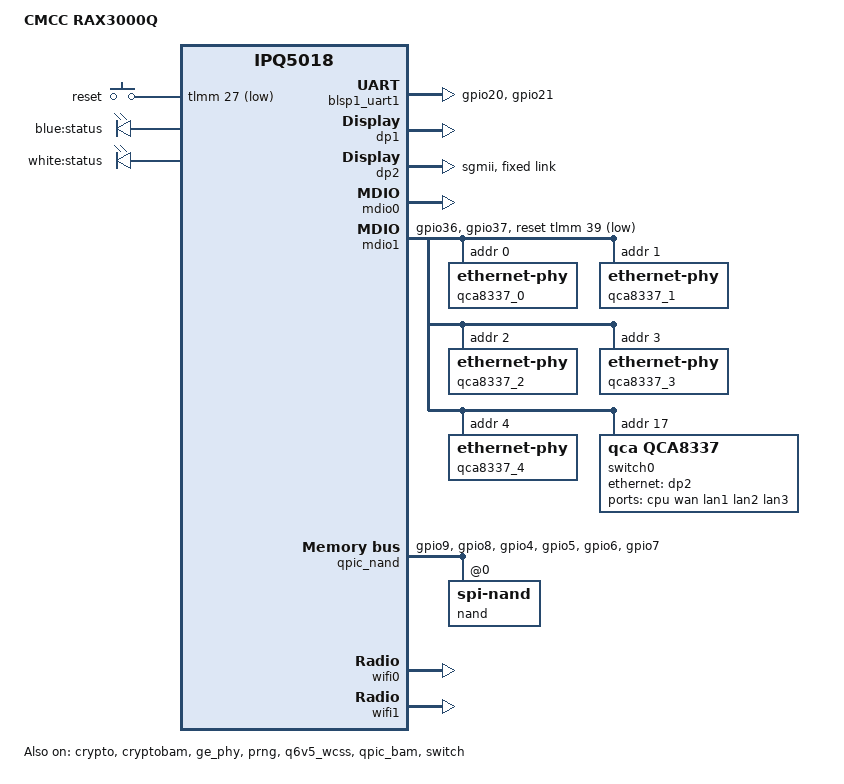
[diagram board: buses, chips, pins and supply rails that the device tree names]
// SPDX-License-Identifier: (GPL-2.0+)

/dts-v1/;
#include "ipq5018.dtsi"
#include "ipq5018-ess.dtsi"
#include <dt-bindings/gpio/gpio.h>
#include <dt-bindings/input/input.h>

/ {
	#address-cells = <0x2>;
	#size-cells = <0x2>;
	model = "CMCC RAX3000Q";
	compatible = "cmcc,rax3000q", "qcom,ipq5018";
	interrupt-parent = <&intc>;

	aliases {
		ethernet1 = &dp2;
		label-mac-device = &dp2;
		serial0 = &blsp1_uart1;
		led-boot = &led_blue;
		led-failsafe = &led_blue;
		led-running = &led_blue;
		led-upgrade = &led_white;
	};

	chosen {
		stdout-path = "serial0:115200n8";
		bootargs-append = " root=/dev/ubiblock0_1";
	};

	keys {
		compatible = "gpio-keys";
		pinctrl-0 = <&button_pins>;
		pinctrl-names = "default";

		reset {
			label = "reset";
			linux,code = <KEY_RESTART>;
			gpios = <&tlmm 27 GPIO_ACTIVE_LOW>;
		};
	};

	leds {
		compatible = "gpio-leds";
		pinctrl-0 = <&leds_pins>;
		pinctrl-names = "default";

		led_blue: status_blue {
			label = "blue:status";
			gpio = <&tlmm 24 GPIO_ACTIVE_HIGH>;
		};

		led_white: status_white {
			label = "white:status";
			gpio = <&tlmm 23 GPIO_ACTIVE_HIGH>;
		};
	};

	reserved-memory {
		tz_appps@4a400000 {
			no-map;
			reg = <0x0 0x4a400000 0x0 0x400000>;
		};

		q6_mem_regions: q6_mem_regions@4b000000 {
			no-map;
			reg = <0x0 0x4b000000 0x0 0x3000000>;
		};
	};
};

&sleep_clk {
	clock-frequency = <32000>;
};

&xo_board_clk {
	clock-frequency = <24000000>;
};

&blsp1_uart1 {
	pinctrl-0 = <&blsp0_uart_pins>;
	pinctrl-names = "default";
	status = "okay";
};

&crypto {
	status = "okay";
};

&cryptobam {
	status = "okay";
};

&dp1 {
	status = "okay";
};

&dp2 {
	phy-mode = "sgmii";
	status = "okay";

	fixed-link {
		speed = <1000>;
		full-duplex;
	};
};

&ge_phy {
	status = "okay";
};

&mdio0 {
	status = "okay";
};

&mdio1 {
	pinctrl-0 = <&mdio1_pins>;
	pinctrl-names = "default";
	reset-gpios = <&tlmm 39 GPIO_ACTIVE_LOW>;
	status = "okay";

	// QCA8337 Phy0 -> WAN
	qca8337_0: ethernet-phy@0 {
		reg = <0>;
	};
	// QCA8337 Phy1 -> LAN1
	qca8337_1: ethernet-phy@1 {
		reg = <1>;
	};
	// QCA8337 Phy3 -> LAN2
	qca8337_2: ethernet-phy@2 {
		reg = <2>;
	};
	// QCA8337 Phy2 -> IPQ5018 GE Phy
	qca8337_3: ethernet-phy@3 {
		reg = <3>;
	};
	// QCA8337 Phy4 -> LAN3
	qca8337_4: ethernet-phy@4 {
		reg = <4>;
	};
	// QCA8337 switch
	switch0: ethernet-switch@17 {
		compatible = "qca,qca8337";
		reg = <17>;
		#address-cells = <1>;
		#size-cells = <0>;
		switch_cpu_bmp = <0x48>;  // CPU port bitmap: 3 6
		switch_lan_bmp = <0x34>;  // LAN port bitmap: 2 4 5
		switch_wan_bmp = <0x02>;  // WAN port bitmap: 1

		ports {
			#address-cells = <1>;
			#size-cells = <0>;

			switch0cpu: port@0 {
				reg = <0>;
				label = "cpu";
				phy-mode = "sgmii";
				ethernet = <&dp2>;
				qca,sgmii-enable-pll;
				fixed-link {
					speed = <1000>;
					full-duplex;
				};
			};
			// QCA8337 Phy0 -> WAN
			port@1 {
				reg = <1>;
				label = "wan";
				phy-handle = <&qca8337_0>;
				port_id = <1>;
				phy_address = <0>;
			};

			// QCA8337 Phy1 -> LAN1
			port@2 {
				reg = <2>;
				label = "lan1";
				phy-handle = <&qca8337_1>;
				port_id = <2>;
				phy_address = <1>;
			};
			// QCA8337 Phy3 -> LAN2
			port@3 {
				reg = <3>;
				label = "lan2";
				phy-handle = <&qca8337_2>;
				port_id = <3>;
				phy_address = <2>;
			};
			// QCA8337 Phy4 -> LAN3
			port@5 {
				reg = <5>;
				label = "lan3";
				phy-handle = <&qca8337_4>;
				port_id = <5>;
				phy_address = <4>;
			};
		};
	};
};

&prng {
	status = "okay";
};

&q6v5_wcss {
	status = "okay";
	memory-region = <&q6_mem_regions>;
	firmware-name = "ath11k/IPQ5018/hw1.0/q6_fw.mdt",
					"ath11k/IPQ5018/hw1.0/m3_fw.mdt",
					"ath11k/qcn6122/hw1.0/m3_fw.mdt";

	boot-args =
			</*       type: */ 0x1 /* PCIE0 */
		     /*     length: */ 4
		     /*      PD id: */ 3
		     /* reset GPIO: */ 15
		     /*   reserved: */ 0 0>;

	// IPQ5018
	q6_wcss_pd1: pd-1 {
		firmware-name = "ath11k/IPQ5018/hw1.0/q6_fw.mdt";
		resets =
			<&gcc GCC_WCSSAON_RESET>,
			<&gcc GCC_WCSS_BCR>,
			<&gcc GCC_CE_BCR>;
		reset-names =
			"wcss_aon_reset",
			"wcss_reset",
			"ce_reset";
		clocks =
			<&gcc GCC_WCSS_AHB_S_CLK>,
			<&gcc GCC_WCSS_ACMT_CLK>,
			<&gcc GCC_WCSS_AXI_M_CLK>;
		clock-names =
			"gcc_wcss_ahb_s_clk",
			"gcc_wcss_acmt_clk",
			"gcc_wcss_axi_m_clk";

		interrupts-extended =
			<&wcss_smp2p_in 8 0>,
			<&wcss_smp2p_in 9 0>,
			<&wcss_smp2p_in 12 0>,
			<&wcss_smp2p_in 11 0>;
		interrupt-names =
			"fatal",
			"ready",
			"spawn-ack",
			"stop-ack";
		qcom,smem-states =
			<&wcss_smp2p_out 8>,
			<&wcss_smp2p_out 9>,
			<&wcss_smp2p_out 10>;
		qcom,smem-state-names =
			"shutdown",
			"stop",
			"spawn";
	};

	// QCN6102 5G
	q6_wcss_pd3: pd-3 {
		firmware-name = "ath11k/IPQ5018/hw1.0/q6_fw.mdt";
		interrupts-extended =
			<&wcss_smp2p_in 24 0>,
			<&wcss_smp2p_in 25 0>,
			<&wcss_smp2p_in 28 0>,
			<&wcss_smp2p_in 27 0>;
		interrupt-names =
			"fatal",
			"ready",
			"spawn-ack",
			"stop-ack";
		qcom,smem-states =
			<&wcss_smp2p_out 24>,
			<&wcss_smp2p_out 25>,
			<&wcss_smp2p_out 26>;
		qcom,smem-state-names =
			"shutdown",
			"stop",
			"spawn";
	};
};

&qpic_bam {
	status = "okay";
};

&qpic_nand {
	pinctrl-0 = <&qpic_pins>;
	pinctrl-names = "default";
	status = "okay";

	nand@0 {
		compatible = "spi-nand";
		#address-cells = <1>;
		#size-cells = <1>;
		reg = <0>;

		nand-ecc-engine = <&qpic_nand>;
		nand-ecc-strength = <4>;
		nand-ecc-step-size = <512>;
		nand-bus-width = <8>;

		partitions {
			compatible = "qcom,smem-part";
		};
	};
};

&switch {
	switch_mac_mode = <MAC_MODE_SGMII_CHANNEL0>;
	status = "okay";

	qcom,port_phyinfo {
		// MAC0 -> GE Phy -> QCA8337 Phy2
		port@0 {
			port_id = <1>;
			mdiobus = <&mdio0>;
			phy_address = <7>;
			phy_dac = <0x10 0x10>;
		};
		// MAC1 ---SGMII---> QCA8337 SerDes
		port@1 {
			port_id = <2>;
			forced-speed = <1000>;
			forced-duplex = <1>;
		};
	};
};

&tlmm {
	blsp0_uart_pins: uart_pins {
		blsp0_uart_rx_tx {
			pins = "gpio20", "gpio21";
			function = "blsp0_uart0";
			bias-disable;
		};
	};

	button_pins: button_pins {
		mux {
			pins = "gpio27";
			function = "gpio";
			drive-strength = <8>;
			bias-pull-up;
		};
	};

	leds_pins: leds_pins {
		mux {
			pins = "gpio23", "gpio24";
			function = "gpio";
			drive-strength = <8>;
			bias-pull-down;
		};
	};

	mdio1_pins: mdio-state {
		mdc-pins {
			pins = "gpio36";
			function = "mdc";
			drive-strength = <8>;
			bias-pull-up;
		};
		mdio-pins {
			pins = "gpio37";
			function = "mdio";
			drive-strength = <8>;
			bias-pull-up;
		};
	};

	qpic_pins: qpic-state {
		clock-pins {
			pins = "gpio9";
			function = "qspi_clk";
			drive-strength = <8>;
			bias-disable;
		};
		cs-pins {
			pins = "gpio8";
			function = "qspi_cs";
			drive-strength = <8>;
			bias-disable;
		};
		data-pins {
			pins = "gpio4", "gpio5", "gpio6", "gpio7";
			function = "qspi_data";
			drive-strength = <8>;
			bias-disable;
		};
	};
};

&wifi0 {
	qcom,rproc = <&q6_wcss_pd1>;
	qcom,userpd-subsys-name = "q6v5_wcss_userpd1";
	qcom,ath11k-calibration-variant = "CMCC-RAX3000Q";
	qcom,ath11k-fw-memory-mode = <2>;
	qcom,bdf-addr = <0x4c400000>;
	status = "okay";
};

&wifi1 {
	qcom,rproc = <&q6_wcss_pd3>;
	qcom,userpd-subsys-name = "q6v5_wcss_userpd3";
	qcom,ath11k-calibration-variant = "CMCC-RAX3000Q";
	qcom,ath11k-fw-memory-mode = <2>;
	qcom,bdf-addr = <0x4d100000>;
	qcom,m3-dump-addr = <0x4df00000>;
	status = "okay";
};
